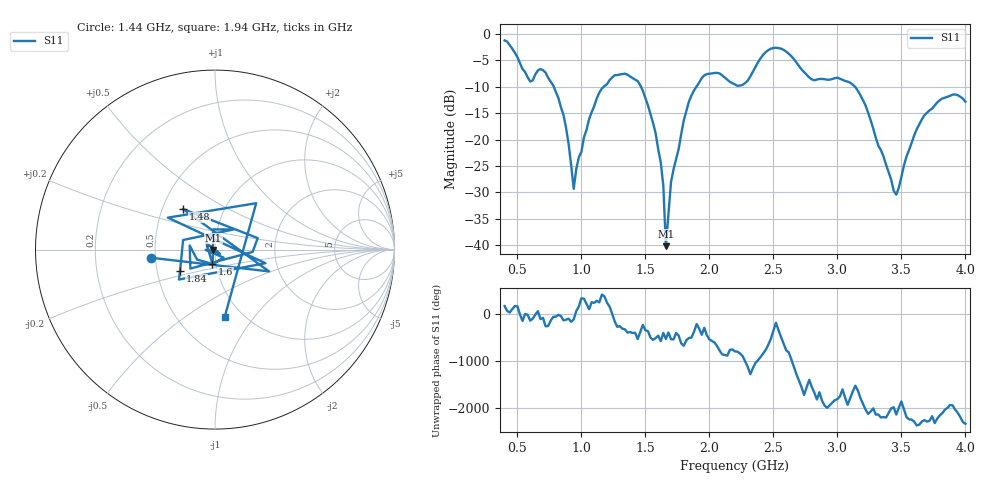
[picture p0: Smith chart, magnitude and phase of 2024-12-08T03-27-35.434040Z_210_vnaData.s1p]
!Created with skrf (http://scikit-rf.org).
# Hz S RI R 50.0
!freq ReS11 ImS11
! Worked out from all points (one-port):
!   181 points, 400 MHz to 4 GHz, reference 50 ohm
!   lowest |S11| = -40.2 dB at 1.66 GHz (marker M1), VSWR 1.02, Z = 49 - j0.171 ohm
!   |S11| at or under -10 dB: 783.8 MHz to 1.176 GHz (392 MHz wide, 40 % of centre); 1.465 GHz to 1.899 GHz (434.5 MHz wide, 25.8 % of centre); 3.136 GHz to end of sweep
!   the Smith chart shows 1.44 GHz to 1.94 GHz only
!   S11 on the Smith chart (normalised r, x): 1.44 GHz: 0.47, -0.05; 1.48 GHz: 0.64, +0.31; 1.6 GHz: 0.96, -0.15; 1.84 GHz: 0.66, -0.16; 1.94 GHz: 0.82, -0.73
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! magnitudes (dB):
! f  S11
! 400 MHz  -1.3
! 600 MHz  -9.1
! 720 MHz  -7.4
! 860 MHz  -15.3
! 940 MHz  -29.3
! 1.02 GHz  -19.6
! 1.12 GHz  -12.2
! 1.3 GHz  -7.7
! 1.44 GHz  -8.9
! 1.48 GHz  -10.8
! 1.6 GHz  -21.8
! 1.64 GHz  -28.7
! 1.66 GHz  -40.2
! 1.7 GHz  -28.1
! 1.76 GHz  -21.8
! 1.84 GHz  -12.8
! 1.94 GHz  -8.4
! 2.2 GHz  -9.6
! 2.48 GHz  -2.8
! 2.66 GHz  -4.8
! 2.8 GHz  -8.6
! 3.1 GHz  -9.3
! 3.22 GHz  -13.6
! 3.46 GHz  -30.4
! 3.56 GHz  -22.0
! 3.66 GHz  -16.2
! 3.8 GHz  -12.6
! 4 GHz  -12.8
